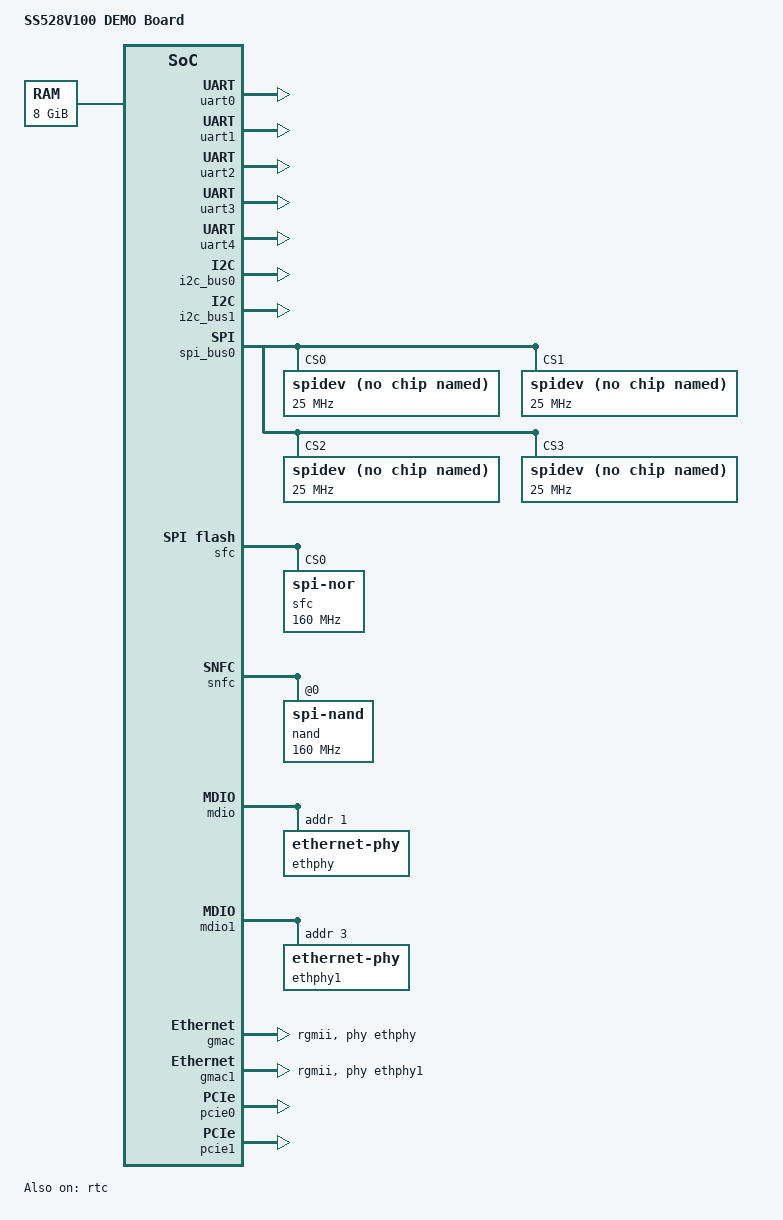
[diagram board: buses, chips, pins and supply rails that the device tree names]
/* Copyright (c) 2017 Shenshu Technologies Co., Ltd.
 *
 * This program is free software; you can redistribute  it and/or modify it
 * under  the terms of  the GNU General  Public License as published by the
 * Free Software Foundation;  either version 2 of the  License, or (at your
 * option) any later version.
 *
 * This program is distributed in the hope that it will be useful,
 * but WITHOUT ANY WARRANTY; without even the implied warranty of
 * MERCHANTABILITY or FITNESS FOR A PARTICULAR PURPOSE. See the
 * GNU General Public License for more details.
 *
 * You should have received a copy of the GNU General Public License
 * along with this program.  If not, see <http://www.gnu.org/licenses/>.
 *
 */

/dts-v1/;
/* reserved for warmreset */
/* reserved for arm trustedfirmware */
/* Modify this configuration according to the system framework */
/memreserve/ 0x43000000 0x00200000;
#include "ss528v100.dtsi"

/ {
	model = "SS528V100 DEMO Board";
	compatible = "vendor,ss528v100";

	aliases {
		serial0 = &uart0;

		serial1 = &uart1;
		serial2 = &uart2;
		serial3 = &uart3;
		serial4 = &uart4;

		i2c0 = &i2c_bus0;
		i2c1 = &i2c_bus1;

		spi0 = &spi_bus0;

		gpio0 = &gpio_chip0;
		gpio1 = &gpio_chip1;
		gpio2 = &gpio_chip2;
		gpio3 = &gpio_chip3;
		gpio4 = &gpio_chip4;
		gpio5 = &gpio_chip5;
		gpio6 = &gpio_chip6;
		gpio7 = &gpio_chip7;
		gpio8 = &gpio_chip8;
		gpio9 = &gpio_chip9;
		gpio10 = &gpio_chip10;
		gpio11 = &gpio_chip11;
		gpio12 = &gpio_chip12;
		gpio13 = &gpio_chip13;
		gpio14 = &gpio_chip14;
		gpio15 = &gpio_chip15;
		gpio16 = &gpio_chip16;
		gpio17 = &gpio_chip17;
		gpio18 = &gpio_chip18;
		gpio19 = &gpio_chip19;
		gpio20 = &gpio_chip20;
		gpio21 = &gpio_chip21;
		gpio22 = &gpio_chip22;
		gpio23 = &gpio_chip23;
		gpio24 = &gpio_chip24;
		gpio25 = &gpio_chip25;
	};

	chosen {
		bootargs = "earlycon=pl011,0x11040000 mem=512M console=ttyAMA0,115200 clk_ignore_unused root=/dev/mtdblock2 rootfstype=yaffs2 rw mtdparts=nand:1M(boot),9M(kernel),32M(rootfs),1M(this_bootargs_string_is_reserved_for_bootargs_form_uboot!!!_it_must_be_longer_than_bootargs_form_uboot!!!_this_bootargs_string_is_reserved_for_bootargs_form_uboot!!!_it_must_be_longer_than_bootargs_form_uboot!!!_this_bootargs_string_is_reserved_for_bootargs_form_uboot!!!_it_must_be_longer_than_bootargs_form_uboot!!!_this_bootargs_string_is_reserved_for_bootargs_form_uboot!!!_it_must_be_longer_than_bootargs_form_uboot!!!_this_bootargs_string_is_reserved_for_bootargs_form_uboot!!!_it_must_be_longer_than_bootargs_form_uboot!!!)";

		linux,initrd-start = <0x60000040>;
		linux,initrd-end = <0x61000000>;
	};

	cpus {
		#address-cells = <2>;
		#size-cells = <0>;

		cpu@0 {
			compatible = "arm,cortex-a53";
			device_type = "cpu";
			reg = <0x0 0x0>;
			enable-method = "psci";
			//clock-latency = <100000>; /* From legacy driver */
		};

		cpu@1 {
			compatible = "arm,cortex-a53";
			device_type = "cpu";
			reg = <0x0 0x1>;
			enable-method = "psci";
			//clock-latency = <200000>; /* From legacy driver */
		};

		cpu@2 {
			compatible = "arm,cortex-a53";
			device_type = "cpu";
			reg = <0x0 0x2>;
			enable-method = "psci";
		};

		cpu@3 {
			compatible = "arm,cortex-a53";
			device_type = "cpu";
			reg = <0x0 0x3>;
			enable-method = "psci";
		};
	};

	memory {
		device_type = "memory";
		reg = <0x0 0x40000000 0x2 0x0>; /* system memory base */
	};
};

&uart0 {
	status = "okay";
};

&uart1 {
	status = "okay";
};

&uart2 {
	status = "okay";
};

&uart3 {
	status = "okay";
};

&uart4 {
	status = "okay";
};

&i2c_bus0 {
	status = "okay";
};

&i2c_bus1 {
	status = "okay";
};

&spi_bus0{
	status = "okay";

	spidev@0 {
		compatible = "rohm,dh2228fv";
		reg = <0>;
		pl022,interface = <0>;
		pl022,com-mode = <0>;
		spi-max-frequency = <25000000>;
	};

	spidev@1 {
		compatible = "rohm,dh2228fv";
		reg = <1>;
		pl022,interface = <0>;
		pl022,com-mode = <0>;
		spi-max-frequency = <25000000>;
	};

	spidev@2 {
		compatible = "rohm,dh2228fv";
		reg = <2>;
		pl022,interface = <0>;
		pl022,com-mode = <0>;
		spi-max-frequency = <25000000>;
	};

	spidev@3 {
		compatible = "rohm,dh2228fv";
		reg = <3>;
		pl022,interface = <0>;
		pl022,com-mode = <0>;
		spi-max-frequency = <25000000>;
	};
};

&gpio_chip0 {
	status = "okay";
};

&gpio_chip1 {
	status = "okay";
};

&gpio_chip2 {
	status = "okay";
};

&gpio_chip3 {
	status = "okay";
};

&gpio_chip4 {
	status = "okay";
};

&gpio_chip5 {
	status = "okay";
};

&gpio_chip6 {
	status = "okay";
};

&gpio_chip7 {
	status = "okay";
};

&gpio_chip8 {
	status = "okay";
};

&gpio_chip9 {
	status = "okay";
};

&gpio_chip10 {
	status = "okay";
};

&gpio_chip11 {
	status = "okay";
};

&gpio_chip12 {
	status = "okay";
};

&gpio_chip13 {
	status = "okay";
};

&gpio_chip14 {
	status = "okay";
};

&gpio_chip15 {
	status = "okay";
};

&gpio_chip16 {
	status = "okay";
};

&gpio_chip17 {
	status = "okay";
};

&gpio_chip18 {
	status = "okay";
};

&gpio_chip19 {
	status = "okay";
};

&gpio_chip20 {
	status = "okay";
};

&gpio_chip21 {
	status = "okay";
};

&gpio_chip22 {
	status = "okay";
};

&gpio_chip23 {
	status = "okay";
};

&gpio_chip24 {
	status = "okay";
};

&gpio_chip25 {
	status = "okay";
};

&rtc{
	status = "okay";
};

&sfc {
	sfc {
		compatible = "jedec,spi-nor";
		reg = <0>;
		spi-max-frequency = <160000000>;
		m25p,fast-read;
	};
};

&snfc {
	nand {
		compatible = "jedec,spi-nand";
		reg = <0>;
		spi-max-frequency = <160000000>;
	};
};

&mdio {
	ethphy: ethernet-phy@1 {
		reg = <1>;
	};
};
&mdio1 {
	ethphy1: ethernet-phy@3 {
		reg = <3>;
	};
};

&gmac {
	phy-handle = <&ethphy>;
	phy-mode = "rgmii";
};

&gmac1 {
	phy-handle = <&ethphy1>;
	phy-mode = "rgmii";
};

&pcie0 {
	status = "okay";
};

&pcie1 {
	status = "okay";
};

&edmacv310_0 {
	status = "okay";
};
